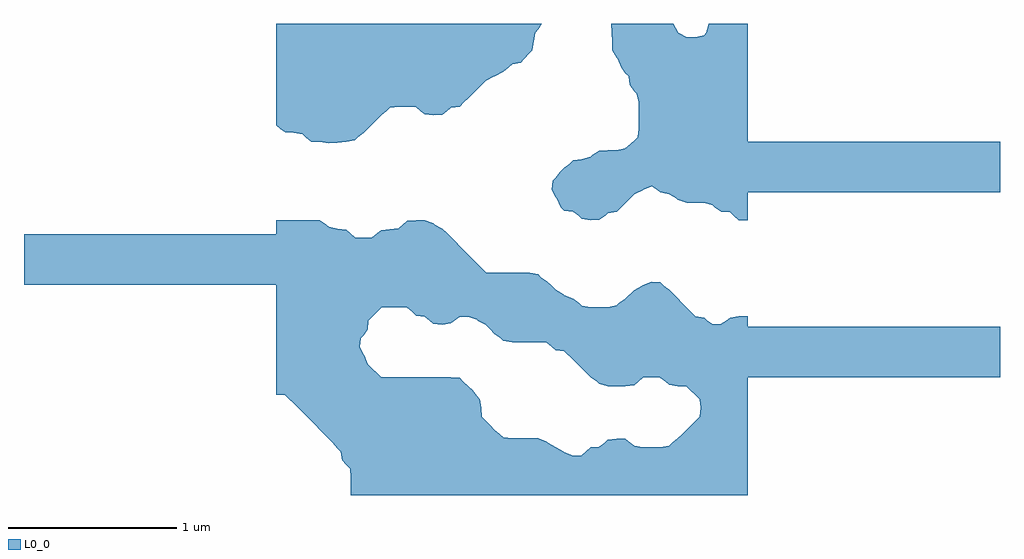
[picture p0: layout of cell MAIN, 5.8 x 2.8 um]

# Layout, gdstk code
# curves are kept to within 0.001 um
import gdstk
lib = gdstk.Library(unit=1e-6, precision=1e-09)
def R(c, l, rs):  # rectangles x0, y0, x1, y1
    for r in rs: c.add(gdstk.rectangle(r[:2], r[2:], *l))
def P(c, l, *ps):  # polygons
    for p in ps: c.add(gdstk.Polygon(p, *l))
L0_0 = (0, 0)

main = lib.new_cell('MAIN')
R(main, L0_0, [(1.4,-0.7,2.9,-0.4), (-2.9,-0.15,-1.4,0.15), (1.4,0.4,2.9,0.7)])
P(main, L0_0, [(-1.037,0.695),(-0.985,0.7),(-0.933,0.709),(-0.916,0.726),(-0.881,0.753),(-0.778,0.856),(-0.746,0.881),(-0.726,0.902),(-0.674,0.907),(-0.622,0.907),(-0.57,0.904),(-0.519,0.862),(-0.467,0.857),(-0.415,0.859),(-0.387,0.881),(-0.363,0.903),(-0.311,0.908),(-0.156,1.062),(-0.052,1.115),(-0.02,1.141),(0,1.16),(0.052,1.17),(0.12,1.244),(0.139,1.348),(0.156,1.367),(0.178,1.4),(-1.4,1.4),(-1.4,0.797),(-1.348,0.755),(-1.296,0.752),(-1.244,0.745),(-1.225,0.726),(-1.193,0.7),(-1.141,0.699),(-1.089,0.691)],
  [(1.4,1.4),(1.168,1.4),(1.155,1.348),(1.141,1.334),(1.089,1.321),(1.037,1.322),(0.989,1.348),(0.985,1.352),(0.959,1.4),(0.59,1.4),(0.594,1.348),(0.596,1.244),(0.622,1.198),(0.628,1.193),(0.648,1.141),(0.674,1.108),(0.693,1.089),(0.7,1.037),(0.726,1),(0.741,0.985),(0.752,0.933),(0.752,0.778),(0.746,0.726),(0.726,0.706),(0.688,0.674),(0.674,0.66),(0.622,0.648),(0.519,0.647),(0.479,0.622),(0.467,0.611),(0.415,0.596),(0.363,0.591),(0.342,0.57),(0.311,0.544),(0.285,0.519),(0.259,0.485),(0.241,0.467),(0.235,0.415),(0.259,0.371),(0.266,0.363),(0.291,0.311),(0.311,0.291),(0.363,0.284),(0.397,0.259),(0.415,0.242),(0.467,0.234),(0.519,0.235),(0.553,0.259),(0.57,0.275),(0.622,0.285),(0.726,0.389),(0.781,0.415),(0.83,0.436),(0.863,0.415),(0.881,0.4),(0.933,0.389),(0.977,0.363),(0.985,0.355),(1.037,0.337),(1.141,0.337),(1.193,0.323),(1.205,0.311),(1.244,0.285),(1.296,0.281),(1.348,0.234),(1.4,0.233)],
  [(-1.348,-0.806),(-1.324,-0.83),(-1.296,-0.855),(-1.115,-1.037),(-1.064,-1.089),(-1.037,-1.121),(-1.017,-1.141),(-1.01,-1.193),(-0.961,-1.244),(-0.958,-1.4),(1.4,-1.4),(1.4,-0.337),(1.348,-0.338),(1.296,-0.345),(1.244,-0.382),(1.193,-0.385),(1.16,-0.363),(1.141,-0.347),(1.089,-0.336),(0.962,-0.207),(0.933,-0.181),(0.902,-0.156),(0.881,-0.135),(0.83,-0.131),(0.778,-0.152),(0.774,-0.156),(0.726,-0.182),(0.674,-0.233),(0.634,-0.259),(0.622,-0.271),(0.57,-0.285),(0.467,-0.285),(0.415,-0.275),(0.399,-0.259),(0.363,-0.234),(0.311,-0.212),(0.306,-0.207),(0.259,-0.18),(0.207,-0.13),(0.171,-0.104),(0.156,-0.089),(0.104,-0.078),(-0.052,-0.079),(-0.156,-0.077),(-0.285,0.052),(-0.334,0.104),(-0.386,0.156),(-0.415,0.182),(-0.458,0.207),(-0.467,0.216),(-0.519,0.233),(-0.622,0.231),(-0.674,0.186),(-0.778,0.175),(-0.83,0.132),(-0.881,0.13),(-0.933,0.132),(-0.985,0.176),(-1.037,0.182),(-1.089,0.194),(-1.103,0.207),(-1.141,0.233),(-1.4,0.234),(-1.4,-0.519),(-0.904,-0.519),(-0.898,-0.467),(-0.881,-0.449),(-0.857,-0.415),(-0.854,-0.363),(-0.778,-0.288),(-0.726,-0.285),(-0.622,-0.286),(-0.594,-0.311),(-0.57,-0.335),(-0.519,-0.339),(-0.488,-0.363),(-0.467,-0.383),(-0.415,-0.387),(-0.363,-0.379),(-0.343,-0.363),(-0.311,-0.341),(-0.259,-0.339),(-0.207,-0.359),(-0.203,-0.363),(-0.156,-0.389),(-0.104,-0.44),(-0.068,-0.467),(-0.052,-0.483),(0,-0.493),(0.156,-0.493),(0.207,-0.495),(0.259,-0.539),(0.311,-0.545),(0.467,-0.699),(0.507,-0.726),(0.519,-0.738),(0.57,-0.752),(0.674,-0.752),(0.726,-0.747),(0.778,-0.703),(0.83,-0.701),(0.881,-0.702),(0.915,-0.726),(0.933,-0.743),(0.985,-0.752),(1.037,-0.756),(1.059,-0.778),(1.089,-0.803),(1.115,-0.83),(1.123,-0.881),(1.115,-0.933),(1.089,-0.962),(0.985,-1.063),(0.953,-1.089),(0.933,-1.108),(0.881,-1.115),(0.778,-1.115),(0.726,-1.107),(0.674,-1.066),(0.622,-1.064),(0.57,-1.071),(0.552,-1.089),(0.519,-1.114),(0.467,-1.116),(0.415,-1.162),(0.363,-1.165),(0.311,-1.144),(0.308,-1.141),(0.213,-1.089),(0.207,-1.084),(0.156,-1.063),(0,-1.062),(-0.052,-1.057),(-0.072,-1.037),(-0.104,-1.012),(-0.18,-0.933),(-0.182,-0.881),(-0.191,-0.83),(-0.207,-0.813),(-0.233,-0.778),(-0.259,-0.752),(-0.289,-0.726),(-0.311,-0.703),(-0.363,-0.7),(-0.674,-0.701),(-0.778,-0.699),(-0.856,-0.622),(-0.878,-0.57),(-0.904,-0.519),(-1.4,-0.519),(-1.4,-0.803)])

lib.write_gds('MAIN.gds')
